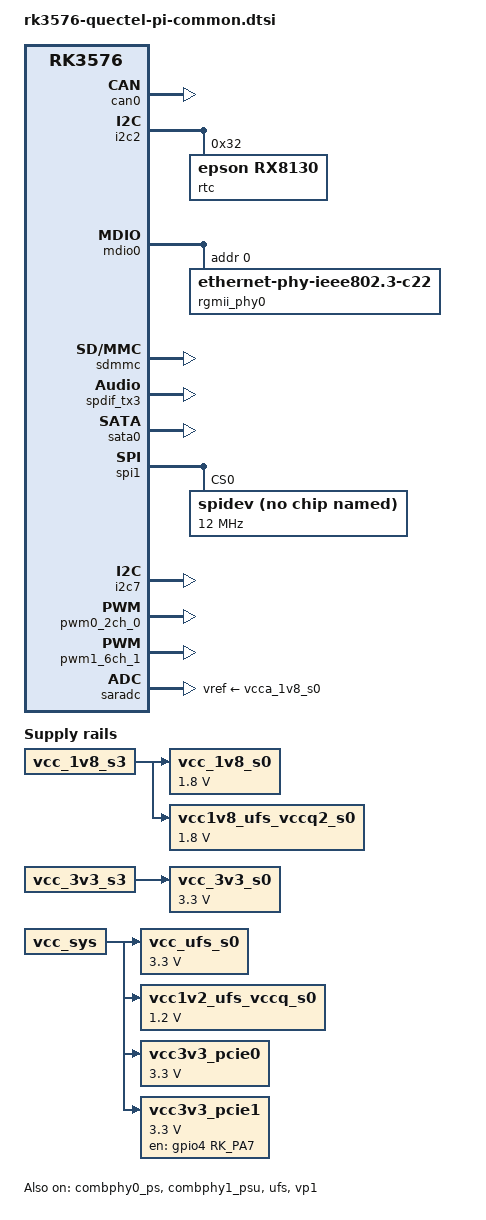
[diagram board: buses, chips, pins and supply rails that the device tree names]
// SPDX-License-Identifier: (GPL-2.0+ OR MIT)
/*
 * Quectel PI common board hardware (shared between M2 and SMARC).
 * Only put content that is byte-identical across both boards here.
 * Any difference, no matter how small, stays in the platform-specific files.
 *
 * Copyright (c) 2024 Rockchip Electronics Co., Ltd.
 *
 */

#include <dt-bindings/usb/pd.h>
#include "rk3576-evb.dtsi"
#include "rk3576-rk806.dtsi"
#include "usb/rk3576-usb.dtsi"
#include "usb/rk3576-usb_dp.dtsi"
#include "display/rk3576-display.dtsi"
#include "M.2_external/rk3576_M.2_wifibt.dtsi"
#include "camera/rk3576-cam.dtsi"

/ {
	adc_keys_ch1:adc-keys-ch1{
		compatible = "adc-keys";
		io-channels = <&saradc 1>;
		io-channel-names = "buttons";
		keyup-threshold-microvolt = <1800000>;
		poll-interval = <100>;

		v_up_key:v-up-key{
			label = "volume_up";
			linux,code = <KEY_VOLUMEUP>;
			press-threshold-microvolt = <45000>;
		};
	};

	adc_keys_ch5:adc-keys-ch5{
		compatible = "adc-keys";
		io-channels = <&saradc 5>;
		io-channel-names = "buttons";
		keyup-threshold-microvolt = <1800000>;
		poll-interval = <100>;

		v_down_key:v-down-key{
			label = "volume_down";
			linux,code = <KEY_VOLUMEDOWN>;
			press-threshold-microvolt = <45000>;
		};
	};

	vcc_1v8_s0: vcc-1v8-s0 {
		compatible = "regulator-fixed";
		regulator-name = "vcc_1v8_s0";
		regulator-boot-on;
		regulator-always-on;
		regulator-min-microvolt = <1800000>;
		regulator-max-microvolt = <1800000>;
		vin-supply = <&vcc_1v8_s3>;
	};

	vcc_3v3_s0: vcc-3v3-s0 {
		compatible = "regulator-fixed";
		regulator-name = "vcc_3v3_s0";
		regulator-boot-on;
		regulator-always-on;
		regulator-min-microvolt = <3300000>;
		regulator-max-microvolt = <3300000>;
		vin-supply = <&vcc_3v3_s3>;
	};

	vcc_ufs_s0: vcc-ufs-s0 {
		compatible = "regulator-fixed";
		regulator-name = "vcc_ufs_s0";
		regulator-boot-on;
		regulator-always-on;
		regulator-min-microvolt = <3300000>;
		regulator-max-microvolt = <3300000>;
		vin-supply = <&vcc_sys>;
	};

	vcc1v8_ufs_vccq2_s0: vcc1v8-ufs-vccq2-s0 {
		compatible = "regulator-fixed";
		regulator-name = "vcc1v8_ufs_vccq2_s0";
		regulator-boot-on;
		regulator-always-on;
		regulator-min-microvolt = <1800000>;
		regulator-max-microvolt = <1800000>;
		vin-supply = <&vcc_1v8_s3>;
	};

	vcc1v2_ufs_vccq_s0: vcc1v2-ufs-vccq-s0 {
		compatible = "regulator-fixed";
		regulator-name = "vcc1v2_ufs_vccq_s0";
		regulator-boot-on;
		regulator-always-on;
		regulator-min-microvolt = <1200000>;
		regulator-max-microvolt = <1200000>;
		vin-supply = <&vcc_sys>;
	};

	/*vcc3v3_lcd_n: vcc3v3-lcd0-n {
		compatible = "regulator-fixed";
		regulator-name = "vcc3v3_lcd0_n";
		regulator-boot-on;
		enable-active-high;
		gpio = <&gpio0 RK_PC6 GPIO_ACTIVE_HIGH>;
		vin-supply = <&vcc_3v3_s0>;
	};*/

	vcc3v3_pcie0: vcc3v3-pcie0 {
		compatible = "regulator-fixed";
		regulator-name = "vcc3v3_pcie0";
		regulator-min-microvolt = <3300000>;
		regulator-max-microvolt = <3300000>;
		regulator-always-on;
		regulator-boot-on;
		startup-delay-us = <5000>;
		vin-supply = <&vcc_sys>;
	};

	vcc3v3_pcie1: vcc3v3-pcie1 {
		compatible = "regulator-fixed";
		regulator-name = "vcc3v3_pcie1";
		regulator-min-microvolt = <3300000>;
		regulator-max-microvolt = <3300000>;
		enable-active-high;
		gpios = <&gpio4 RK_PA7 GPIO_ACTIVE_HIGH>;
		regulator-always-on;
		startup-delay-us = <5000>;
		vin-supply = <&vcc_sys>;
	};
};

&can0 {
	assigned-clocks = <&cru CLK_CAN0>;
	assigned-clock-rates = <150000000>;
	pinctrl-names = "default";
	pinctrl-0 = <&can0m2_pins>;
	status = "okay";
};

&can1 {
	assigned-clocks = <&cru CLK_CAN1>;
	assigned-clock-rates = <150000000>;
	pinctrl-names = "default";
	pinctrl-0 = <&can1m2_pins>;
	status = "disabled";
};

&combphy0_ps {
	status = "okay";
};

/* combphy1_psu: USB1 3.0 与 PCIE1 共用的 SerDes PHY */
&combphy1_psu {
	status = "okay";
};

&i2c2 {
	status = "okay";
	rtc@32 {
		reg = <0x32>;
		compatible = "epson,rx8130";
		/* GPIO0_A5 reused for SATA/PCIE0 MUX, interrupt and pinctrl disabled */
	};
};

&mdio0 {
	rgmii_phy0: phy@0 {
		compatible = "ethernet-phy-ieee802.3-c22";
		reg = <0x0>;
		clocks = <&cru REFCLKO25M_GMAC0_OUT>;
	};
};

&mipidcphy0 {
	status = "disabled";
};

&pinctrl {
	rx8130_gpio {
		rx8130_gpio: rx8130_gpio {
			rockchip,pins = <0 RK_PA5 RK_FUNC_GPIO &pcfg_pull_up>;
		};
	};
};

/* SH603ZA has no USB-C DP Alt Mode circuit.
 * usbdp_phy holds GPIO4_PC4 as sbu1-dc-gpios — the same pin that
 * PCIe1 uses as reset-gpios. Disable it to release the GPIO.
 */
&usbdp_phy {
	status = "disabled";
};

/* SH603ZA does not route these EVB-only peripherals */
&adc_keys_ch1 {
	status = "disabled";
};

&adc_keys_ch5 {
	status = "disabled";
};

&pdm1 {
	status = "disabled";
	pinctrl-names = "default", "idle", "clk";
	pinctrl-0 = <&pdm1m1_sdi0
		     &pdm1m1_sdi1
		     &pdm1m1_sdi2
		     &pdm1m1_sdi3>;
	pinctrl-1 = <&pdm1m1_clk0_idle
		     &pdm1m1_clk1_idle>;
	pinctrl-2 = <&pdm1m1_clk0
		     &pdm1m1_clk1>;
};

&sdmmc {
	status = "okay";
};

&spdif_tx3 {
	status = "okay";
};

&ufs {
	vcc-supply = <&vcc_ufs_s0>;
	vccq-supply = <&vcc1v2_ufs_vccq_s0>;
	vccq2-supply = <&vcc1v8_ufs_vccq2_s0>;
	status = "okay";
};

&vp0 {
	status = "disabled";
};

&vp1 {
	status = "okay";
};

&sata0 {
	status = "okay";
};

&spi1 {
	status = "okay";

	spidev@0 {
		compatible = "rockchip,spidev";
		reg = <0>;
		spi-max-frequency = <12000000>;
		status = "okay";
	};
};

&i2c7 {
	pinctrl-names = "default";
	pinctrl-0 = <&i2c7m1_xfer>;
	status = "okay";
};

&pwm0_2ch_0 {
	status = "okay";
	pinctrl-0 = <&pwm0m0_ch0>;
};

&pwm1_6ch_1 {
	status = "okay";
	pinctrl-0 = <&pwm1m0_ch1>;
};

&saradc {
	status = "okay";
	vref-supply = <&vcca_1v8_s0>;
};
